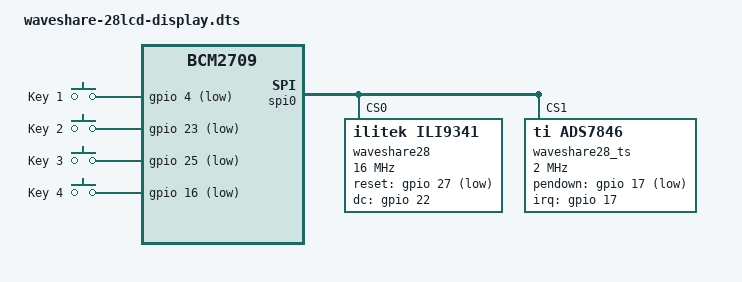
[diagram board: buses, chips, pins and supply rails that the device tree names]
/*
 * Device Tree overlay for waveshare 3.2inch TFT LCD
 *
 */

#include <dt-bindings/gpio/gpio.h>
#include <dt-bindings/input/input.h>


/dts-v1/;
/plugin/;

/ {
	compatible = "brcm,bcm2835", "brcm,bcm2708", "brcm,bcm2709";

    /* Button panels overlay - We have a set of three and a joypad with a center click */
    fragment@0 {
        target-path = "/";
        __overlay__ {
            gpiokeys {
                compatible = "gpio-keys";

                /* Handle the buttons on the side... */
                key_1 {
                    label = "Key 1";
                    gpios = <&gpio 4 GPIO_ACTIVE_LOW>;
                    linux,code = <KEY_1>;
                    debounce-interval = <60>;
                };

                key_2 {
                    label = "Key 2";
                    gpios = <&gpio 23 GPIO_ACTIVE_LOW>;
                    linux,code = <KEY_2>;
                    debounce-interval = <60>;
                };

                key_3 {
                    label = "Key 3";
                    gpios = <&gpio 25 GPIO_ACTIVE_LOW>;
                    linux,code = <KEY_3>;
                    debounce-interval = <60>;
                };

                key_4 {
                    label = "Key 4";
                    gpios = <&gpio 16 GPIO_ACTIVE_LOW>;
                    linux,code = <KEY_4>;
                    debounce-interval = <60>;
                };
            };
        };
    };

	fragment@1 {
		target = <&spi0>;
		__overlay__ {
			status = "okay";
		};
	};

	fragment@2 {
		target = <&spidev0>;
		__overlay__ {
			status = "disabled";
		};
	};

	fragment@3 {
		target = <&spidev1>;
		__overlay__ {
			status = "disabled";
		};
	};

	fragment@4 {
		target = <&gpio>;
		__overlay__ {
			waveshare28_pins: waveshare28_pins {
				brcm,pins = <17 27 22>;
				brcm,function = <0 0 0>; /* in in in */
			};
		};
	};

	fragment@5 {
		target = <&spi0>;
		__overlay__ {
			/* needed to avoid dtc warning */
			#address-cells = <1>;
			#size-cells = <0>;

			waveshare28: waveshare28@0{
				compatible = "ilitek,ili9341";
				reg = <0>;
				pinctrl-names = "default";
				pinctrl-0 = <&waveshare28_pins>;

				spi-max-frequency = <16000000>;
				txbuflen = <32768>;
				rotate = <0>;
				fps = <25>;
				bgr = <0>;
				buswidth = <8>;
				reset-gpios = <&gpio 27 1>;
				dc-gpios = <&gpio 22 0>;
				debug = <0>;
			};

			waveshare28_ts: waveshare28-ts@1 {
				compatible = "ti,ads7846";
				reg = <1>;

				spi-max-frequency = <2000000>;
				interrupts = <17 2>; /* high-to-low edge triggered */
				interrupt-parent = <&gpio>;
				pendown-gpio = <&gpio 17 1>;
				ti,x-plate-ohms = /bits/ 16 <60>;
				touchscreen-max-pressure = <255>;
			};
		};
	};

	__overrides__ {
		speed =   	<&waveshare28>,"spi-max-frequency:0";
		txbuflen =	<&waveshare28>,"txbuflen:0";
		rotate =  	<&waveshare28>,"rotate:0";
		fps =     	<&waveshare28>,"fps:0";
		bgr =		<&waveshare28>,"bgr:0";
		debug =   	<&waveshare28>,"debug:0";
		invertx =   <&waveshare28_ts>,"touchscreen-inverted-x?";
		inverty =   <&waveshare28_ts>,"touchscreen-inverted-y?";
		swapxy =  	<&waveshare28_ts>,"touchscreen-swapped-x-y?";
	};
};
